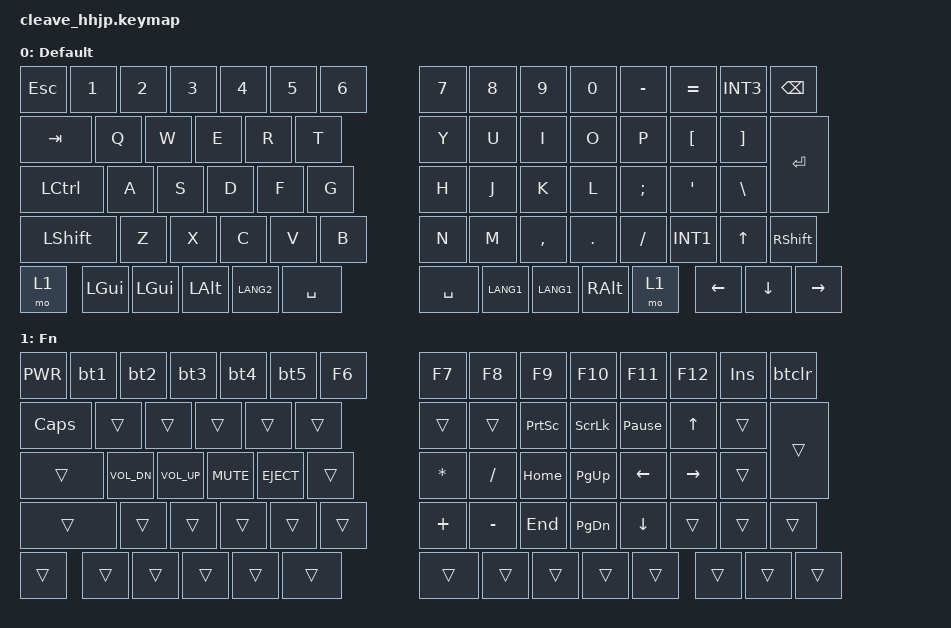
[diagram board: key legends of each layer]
/*
 * Copyright (c) 2025
 * SPDX-License-Identifier: MIT
 */

#include <behaviors.dtsi>
#include <dt-bindings/zmk/keys.h>
#include <dt-bindings/zmk/bt.h>

/ {
	behaviors {
		bt1: bluetooth_morph_1 {
			compatible = "zmk,behavior-mod-morph";
			label = "BT_MORPH_1";
			#binding-cells = <0>;
			bindings = <&kp F1>, <&bt BT_SEL 0>;
			mods = <(MOD_LCTL|MOD_RCTL)>;
		};
		bt2: bluetooth_morph_2 {
			compatible = "zmk,behavior-mod-morph";
			label = "BT_MORPH_2";
			#binding-cells = <0>;
			bindings = <&kp F2>, <&bt BT_SEL 1>;
			mods = <(MOD_LCTL|MOD_RCTL)>;
		};
		bt3: bluetooth_morph_3 {
			compatible = "zmk,behavior-mod-morph";
			label = "BT_MORPH_3";
			#binding-cells = <0>;
			bindings = <&kp F3>, <&bt BT_SEL 2>;
			mods = <(MOD_LCTL|MOD_RCTL)>;
		};
		bt4: bluetooth_morph_4 {
			compatible = "zmk,behavior-mod-morph";
			label = "BT_MORPH_4";
			#binding-cells = <0>;
			bindings = <&kp F4>, <&bt BT_SEL 3>;
			mods = <(MOD_LCTL|MOD_RCTL)>;
		};
		bt5: bluetooth_morph_5 {
			compatible = "zmk,behavior-mod-morph";
			label = "BT_MORPH_5";
			#binding-cells = <0>;
			bindings = <&kp F5>, <&bt BT_SEL 4>;
			mods = <(MOD_LCTL|MOD_RCTL)>;
		};
		btclr: bluetooth_clear_morph {
			compatible = "zmk,behavior-mod-morph";
			label = "BT_CLR_MORPH";
			#binding-cells = <0>;
			bindings = <&kp DEL>, <&bt BT_CLR>;
			mods = <(MOD_LCTL|MOD_RCTL)>;
		};
	};

	keymap {
		compatible = "zmk,keymap";

		default_layer {
			display-name = "Default";
			bindings = <
    &kp ESC  &kp N1   &kp N2   &kp N3   &kp N4   &kp N5   &kp N6                               &kp N7   &kp N8   &kp N9   &kp N0   &kp MINUS &kp EQUAL &kp INT3 &kp BSPC
    &kp TAB  &kp Q    &kp W    &kp E    &kp R    &kp T                                         &kp Y    &kp U    &kp I    &kp O    &kp P    &kp LBKT &kp RBKT &kp RET
    &kp LCTRL &kp A   &kp S    &kp D    &kp F    &kp G                                         &kp H    &kp J    &kp K    &kp L    &kp SEMI &kp SQT  &kp BSLH
    &kp LSHFT &kp Z   &kp X    &kp C    &kp V    &kp B                                         &kp N    &kp M    &kp COMMA &kp DOT &kp FSLH &kp INT1 &kp UP  &kp RSHFT
    &mo 1    &kp LGUI &kp LGUI &kp LALT &kp LANG2 &kp SPACE                                     &kp SPACE &kp LANG1 &kp LANG1 &kp RALT &mo 1   &kp LEFT &kp DOWN &kp RIGHT
			>;
		};

		fn_layer {
			display-name = "Fn";
			bindings = <
    &kp C_PWR &bt1    &bt2     &bt3     &bt4     &bt5     &kp F6                               &kp F7   &kp F8   &kp F9   &kp F10  &kp F11  &kp F12  &kp INS  &btclr
    &kp CAPS &trans   &trans   &trans   &trans   &trans                                        &trans   &trans   &kp PSCRN &kp SLCK &kp PAUSE_BREAK &kp UP &trans &trans
    &trans   &kp C_VOL_DN &kp C_VOL_UP &kp C_MUTE &kp C_EJECT &trans                          &kp STAR &kp FSLH &kp HOME &kp PG_UP &kp LEFT &kp RIGHT &trans
    &trans   &trans   &trans   &trans   &trans   &trans                                        &kp PLUS &kp MINUS &kp END &kp PG_DN &kp DOWN &trans   &trans   &trans
    &trans   &trans   &trans   &trans   &trans   &trans                                        &trans   &trans   &trans   &trans   &trans   &trans   &trans   &trans
			>;
		};
	};
};
